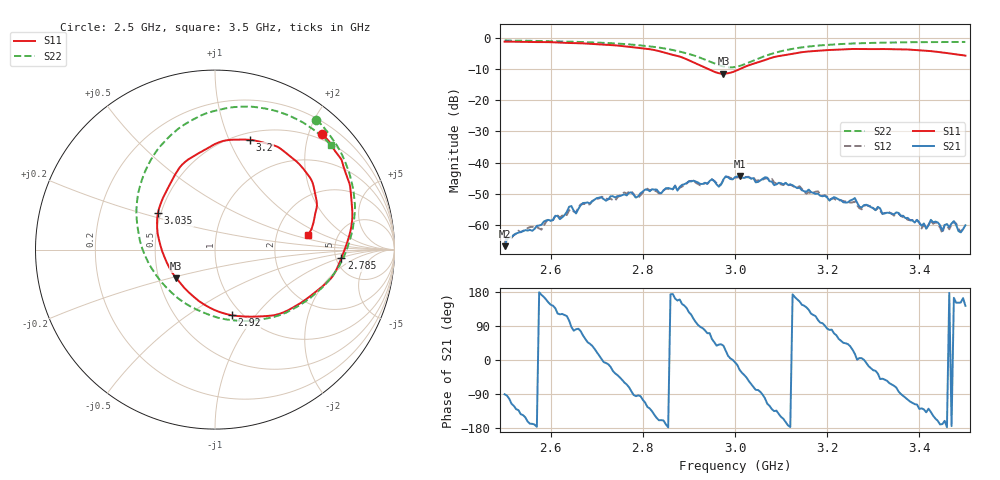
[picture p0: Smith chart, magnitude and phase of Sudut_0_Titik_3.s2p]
# Hz S RI R 50
! CMT, C1220, 16058040, 17.2.0/1
! Date: 15/08/2018 10:39:05
! Data: Format (Calibration Info)
! Freq  S11: Re/Im (F2)  S21: Re/Im (F2)  S12: Re/Im (F2)  S22: Re/Im (F2)
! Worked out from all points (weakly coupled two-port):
!   201 points, 2.5 GHz to 3.5 GHz, reference 50 ohm
!   highest |S21| = -44.33 dB at 3.01 GHz (marker M1); lowest = -66.9 dB at 2.5 GHz (marker M2)
!   lowest |S11| = -11.4 dB at 2.975 GHz (marker M3), VSWR 1.73, Z = 30.9 - j10.6 ohm
!   |S11| at or under -10 dB: 2.944 GHz to 3.009 GHz (65.77 MHz wide, 2.21 % of centre)
!   |S22| runs from -9.4 to -0.7 dB; largest |S21 - S12| = 0.00054
!   S11 on the Smith chart (normalised r, x): 2.5 GHz: 0.39, +2.23; 2.785 GHz: 5.59, -1.06; 2.92 GHz: 0.90, -0.77; 3.035 GHz: 0.48, +0.23; 3.2 GHz: 0.58, +1.20; 3.5 GHz: 3.03, +0.67
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2.5e9  0.597 0.6454  -3.54e-06 -0.000454  3.38e-05 -0.000511  0.5654 0.724
2.67e9  0.7553 0.3314  0.000947 0.00203  0.00103 0.0019  0.7392 0.4521
2.77e9  0.7266 0.0113  0.00102 -0.00311  0.00102 -0.00326  0.7758 0.1735
2.785e9  0.704 -0.0477  -0.00026 -0.00273  -0.000388 -0.00268  0.7683 0.1207
2.81e9  0.6568 -0.1466  -0.00205 -0.00305  -0.00207 -0.00319  0.7439 0.031
2.835e9  0.5788 -0.2209  -0.00309 -0.00118  -0.00295 -0.00121  0.703 -0.0703
2.92e9  0.0933 -0.3662  -0.00018 0.00477  -0.00018 0.00451  0.33 -0.3747
2.965e9  -0.171 -0.2133  0.00311 0.00268  0.00334 0.00271  -0.0211 -0.3676
2.975e9  -0.2155 -0.1593  0.00427 0.00328  0.00419 0.00315  -0.0984 -0.336
3e9  -0.2949 -0.00708  0.00578 -0.000626  0.00567 -0.000869  -0.2724 -0.2097
3.01e9  -0.3127 0.0573  0.00546 -0.00265  0.00527 -0.00245  -0.3283 -0.1416
3.035e9  -0.318 0.2038  0.00247 -0.00496  0.00248 -0.00493  -0.4182 0.0485
3.105e9  -0.1321 0.5125  -0.00405 -0.00187  -0.004 -0.00173  -0.338 0.5313
3.17e9  0.0965 0.6121  -0.00157 0.00284  -0.00177 0.00277  -0.087 0.7426
3.2e9  0.1962 0.6114  0.000347 0.00273  0.00054 0.00275  0.0233 0.7788
3.335e9  0.4991 0.4412  0.000754 -0.00136  0.000719 -0.00142  0.3949 0.7538
3.415e9  0.5666 0.269  -0.000643 -0.000578  -0.000618 -0.000598  0.5366 0.6772
3.425e9  0.568 0.2467  -0.000883 -0.000816  -0.00089 -0.000752  0.551 0.6671
3.45e9  0.557 0.1916  -0.000785 -0.00015  -0.000713 -0.000164  0.5873 0.6386
3.475e9  0.5427 0.1278  -0.0011 0.000314  -0.00109 0.000227  0.6178 0.6111
3.49e9  0.5283 0.0984  -0.000666 0.000358  -0.000652 0.000406  0.6357 0.5927
3.5e9  0.5174 0.0804  -0.000785 0.000591  -0.000636 0.000565  0.6467 0.5815
